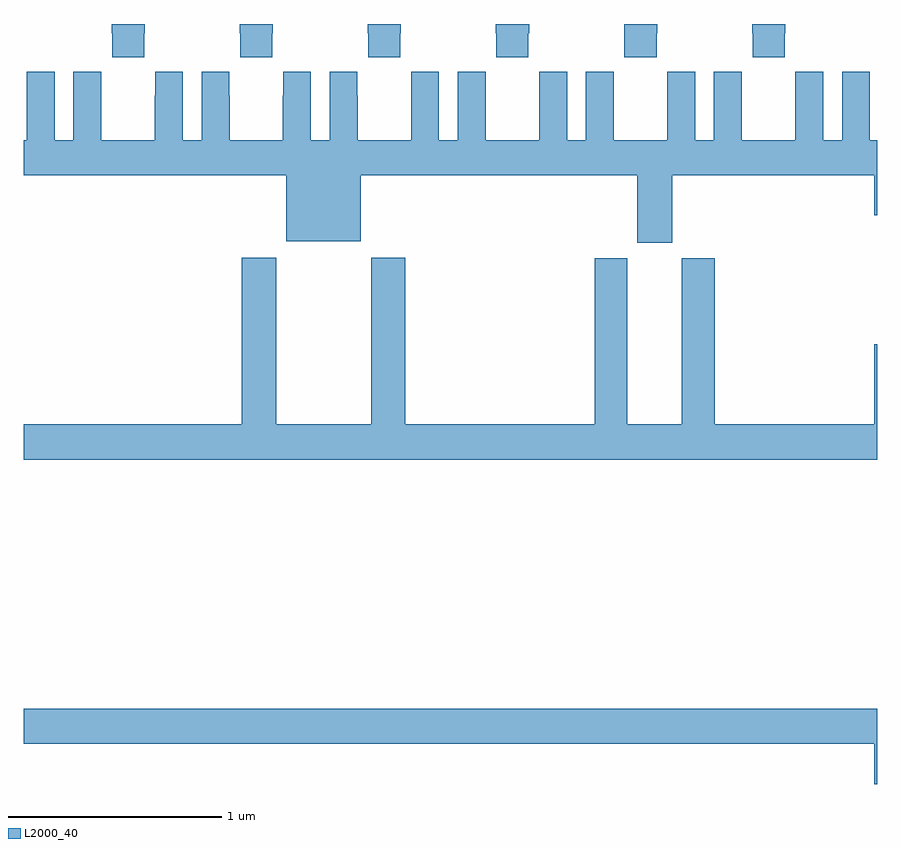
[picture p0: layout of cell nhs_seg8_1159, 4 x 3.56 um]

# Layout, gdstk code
import gdstk
lib = gdstk.Library(unit=1e-6, precision=1e-09)
def P(c, l, *ps):  # polygons
    for p in ps: c.add(gdstk.Polygon(p, *l))
L2000_40 = (2000, 40)

nhs_seg8_1159 = lib.new_cell('nhs_seg8_1159')
P(nhs_seg8_1159, L2000_40, [(185.565,1091.857),(185.568,1091.857),(185.568,1091.9),(185.413,1091.9),(185.413,1091.857),(185.415,1091.857),(185.415,1091.745),(185.565,1091.745)],
  [(186.165,1091.857),(186.168,1091.857),(186.168,1091.9),(186.013,1091.9),(186.013,1091.857),(186.015,1091.857),(186.015,1091.745),(186.165,1091.745)],
  [(186.765,1091.857),(186.768,1091.857),(186.768,1091.9),(186.613,1091.9),(186.613,1091.857),(186.615,1091.857),(186.615,1091.745),(186.765,1091.745)],
  [(187.365,1091.857),(187.368,1091.857),(187.368,1091.9),(187.213,1091.9),(187.213,1091.857),(187.215,1091.857),(187.215,1091.745),(187.365,1091.745)],
  [(187.965,1091.857),(187.968,1091.857),(187.968,1091.9),(187.813,1091.9),(187.813,1091.857),(187.815,1091.857),(187.815,1091.745),(187.965,1091.745)],
  [(188.565,1091.857),(188.568,1091.857),(188.568,1091.9),(188.413,1091.9),(188.413,1091.857),(188.415,1091.857),(188.415,1091.745),(188.565,1091.745)],
  [(188.038,1091.192),(188.984,1091.192),(188.984,1091.004),(189,1091.004),(189,1091.356),(188.965,1091.356),(188.965,1091.564),(188.964,1091.564),(188.964,1091.677),(188.834,1091.677),(188.834,1091.356),(188.746,1091.356),(188.746,1091.677),(188.616,1091.677),(188.616,1091.564),(188.615,1091.564),(188.615,1091.356),(188.365,1091.356),(188.365,1091.564),(188.364,1091.564),(188.364,1091.677),(188.234,1091.677),(188.234,1091.356),(188.146,1091.356),(188.146,1091.677),(188.016,1091.677),(188.016,1091.564),(188.015,1091.564),(188.015,1091.356),(187.765,1091.356),(187.765,1091.564),(187.764,1091.564),(187.764,1091.677),(187.634,1091.677),(187.634,1091.356),(187.546,1091.356),(187.546,1091.677),(187.416,1091.677),(187.416,1091.564),(187.415,1091.564),(187.415,1091.356),(187.165,1091.356),(187.165,1091.564),(187.164,1091.564),(187.164,1091.677),(187.034,1091.677),(187.034,1091.356),(186.946,1091.356),(186.946,1091.677),(186.816,1091.677),(186.816,1091.564),(186.815,1091.564),(186.815,1091.356),(186.565,1091.356),(186.565,1091.564),(186.564,1091.564),(186.564,1091.677),(186.434,1091.677),(186.434,1091.356),(186.346,1091.356),(186.346,1091.677),(186.216,1091.677),(186.216,1091.564),(186.215,1091.564),(186.215,1091.356),(185.965,1091.356),(185.965,1091.564),(185.964,1091.564),(185.964,1091.677),(185.834,1091.677),(185.834,1091.356),(185.746,1091.356),(185.746,1091.677),(185.616,1091.677),(185.616,1091.564),(185.615,1091.564),(185.615,1091.356),(185.365,1091.356),(185.365,1091.564),(185.364,1091.564),(185.364,1091.677),(185.234,1091.677),(185.234,1091.356),(185.146,1091.356),(185.146,1091.677),(185.016,1091.677),(185.016,1091.564),(185.015,1091.564),(185.015,1091.356),(185,1091.356),(185,1091.192),(186.23,1091.192),(186.23,1090.883),(186.58,1090.883),(186.58,1091.192),(187.874,1091.192),(187.874,1090.875),(188.038,1090.875)],
  [(189,1090.399),(188.984,1090.399),(188.984,1090.024),(188.237,1090.024),(188.237,1090.803),(188.084,1090.803),(188.084,1090.024),(187.828,1090.024),(187.828,1090.803),(187.676,1090.803),(187.676,1090.024),(186.788,1090.024),(186.788,1090.804),(186.628,1090.804),(186.628,1090.024),(186.183,1090.024),(186.183,1090.804),(186.023,1090.804),(186.023,1090.024),(185,1090.024),(185,1089.86),(189,1089.86)],
  [(189,1088.692),(185,1088.692),(185,1088.528),(188.984,1088.528),(188.984,1088.34),(189,1088.34)])

lib.write_gds('nhs_seg8_1159.gds')
